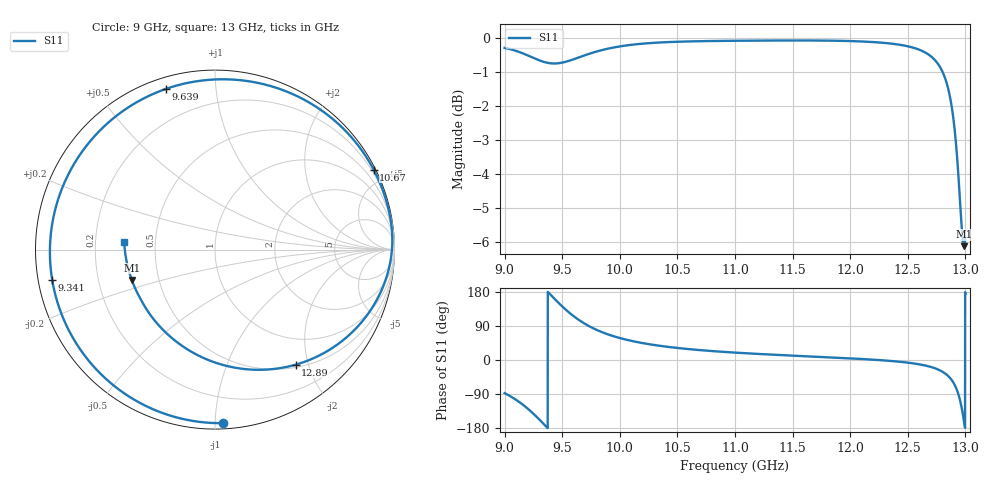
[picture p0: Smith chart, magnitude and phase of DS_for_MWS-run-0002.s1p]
! TOUCHSTONE file generated by CST DESIGN STUDIO
! Date and time: Tue Feb  4 16:45:51 2025
! Project name: C:\Work\MatlabApps\UnitCellOptimizationMatlab\CST\unitcell.cst
! Tree item: Tasks\Sweep1\SPara1\S-Parameters
! Header version: 2024
! Port assignment regex: !\s*Touchstone port\s*([0-9]+)\s*=\s*(CST MWS port|CST DES external port|CST DES block port)\s*(.+)\s* \(\"(.*)\"\)(\s*mode\s*([0-9]+))?.*
! Touchstone port assignment:
! Touchstone port 1 = CST DES external port 1 ("")
# GHz S MA R 50
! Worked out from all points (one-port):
!   4001 points, 9 GHz to 13 GHz, reference 50 ohm
!   lowest |S11| = -6.1 dB at 12.99 GHz (marker M1), VSWR 2.95, Z = 17.4 - j7.77 ohm
!   |S11| at or under -10 dB: nowhere
!   S11 on the Smith chart (normalised r, x): 9 GHz: 0.03, -1.05; 9.341 GHz: 0.04, -0.09; 9.639 GHz: 0.05, +0.74; 10.67 GHz: 0.10, +4.20; 12.89 GHz: 0.54, -1.80; 13 GHz: 0.33, +0.04
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9  0.9678 -87.4
9.096  0.9584 -104.4
9.178  0.9469 -122.6
9.255  0.9346 -143.2
9.341  0.9227 -169.3
9.416  0.9179 166.8
9.5  0.9205 141.4
9.568  0.9272 123.2
9.639  0.9363 106.8
9.717  0.9464 92.0
9.812  0.9573 77.7
10  0.9726 57.9
10.216  0.9823 43.6
10.5  0.9882 31.8
10.67  0.9898 26.8
11  0.9915 19.5
11.5  0.9925 11.5
12  0.9904 4.3
12.5  0.973 -7.0
12.658  0.9514 -15.0
12.761  0.9172 -24.8
12.833  0.8637 -37.6
12.886  0.783 -55.0
12.918  0.7004 -72.7
12.942  0.6177 -93.1
12.963  0.5414 -118.9
12.987  0.4936 -160.0
13  0.5079 175.3
